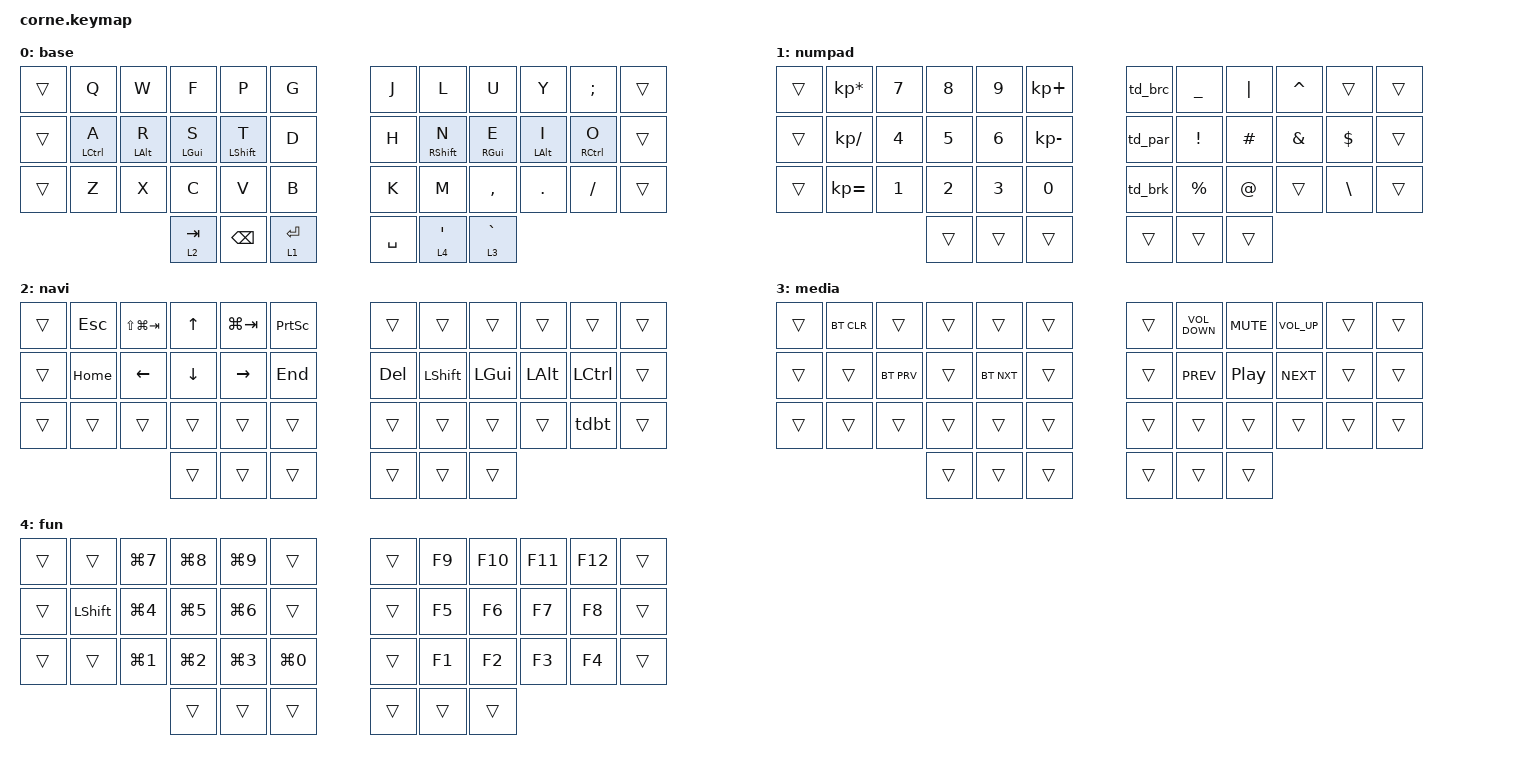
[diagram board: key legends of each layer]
/*
 * Copyright (c) 2020 The ZMK Contributors
 *
 * SPDX-License-Identifier: MIT
 */

#include <behaviors.dtsi>
#include <dt-bindings/zmk/bt.h>
#include <dt-bindings/zmk/keys.h>

/ {
    behaviors {
        hm_o: homerow_mod_outer {
            compatible = "zmk,behavior-hold-tap";
            #binding-cells = <2>;
            tapping-term-ms = <230>;
            quick-tap-ms = <0>;
            flavor = "tap-preferred";
            bindings = <&kp>, <&kp>;
        };

        hm_r: homerow_mod_ring {
            compatible = "zmk,behavior-hold-tap";
            #binding-cells = <2>;
            tapping-term-ms = <220>;
            quick-tap-ms = <0>;
            flavor = "tap-preferred";
            bindings = <&kp>, <&kp>;
        };

        hm_m: homerow_mod_middle {
            compatible = "zmk,behavior-hold-tap";
            #binding-cells = <2>;
            tapping-term-ms = <180>;
            quick-tap-ms = <0>;
            flavor = "tap-preferred";
            bindings = <&kp>, <&kp>;
        };

        hm_i: homerow_mod_index {
            compatible = "zmk,behavior-hold-tap";
            #binding-cells = <2>;
            tapping-term-ms = <170>;
            quick-tap-ms = <0>;
            flavor = "tap-preferred";
            bindings = <&kp>, <&kp>;
        };

        tdbt: tdbt {
            compatible = "zmk,behavior-tap-dance";
            label = "TDBT";
            #binding-cells = <0>;
            bindings = <&bt BT_SEL 0>, <&bt BT_SEL 1>, <&bt BT_CLR>;
        };

        td_par: tap_dance_paren {
            compatible = "zmk,behavior-tap-dance";
            label = "TD_PAREN";
            #binding-cells = <0>;
            bindings = <&kp LEFT_PARENTHESIS>, <&kp RIGHT_PARENTHESIS>;
        };

        td_brk: tap_dance_bracket {
            compatible = "zmk,behavior-tap-dance";
            label = "TD_BRACKET";
            #binding-cells = <0>;
            bindings = <&kp LEFT_BRACKET>, <&kp RIGHT_BRACKET>;
        };

        td_brc: tap_dance_brace {
            compatible = "zmk,behavior-tap-dance";
            label = "TD_BRACE";
            #binding-cells = <0>;
            bindings = <&kp LEFT_BRACE>, <&kp RIGHT_BRACE>;
        };
    };

    keymap {
        compatible = "zmk,keymap";

        BASE {
            label = "base";
            bindings = <
&trans  &kp Q          &kp W         &kp F          &kp P          &kp G          &kp J      &kp L          &kp U         &kp Y          &kp SEMICOLON  &trans
&trans  &hm_o LCTRL A  &hm_r LALT R  &hm_m LGUI S   &hm_i LSHFT T  &kp D          &kp H      &hm_i RSHFT N  &hm_m RGUI E  &hm_r LALT I   &hm_o RCTRL O  &trans
&trans  &kp Z          &kp X         &kp C          &kp V          &kp B          &kp K      &kp M          &kp COMMA     &kp DOT        &kp FSLH       &trans
                                     &lt 2 TAB      &kp BACKSPACE  &lt 1 ENTER    &kp SPACE  &lt 4 APOS     &lt 3 GRAVE
            >;
        };

        NUMPAD {
            label = "numpad";
            bindings = <
&trans  &kp KP_ASTERISK  &kp N7     &kp N8     &kp N9     &kp KP_PLUS     &td_brc  &kp UNDER        &kp PIPE  &kp CARET      &trans         &trans
&trans  &kp KP_SLASH     &kp N4     &kp N5     &kp N6     &kp KP_MINUS    &td_par  &kp EXCLAMATION  &kp HASH  &kp AMPERSAND  &kp DOLLAR     &trans
&trans  &kp KP_EQUAL     &kp N1     &kp N2     &kp N3     &kp N0          &td_brk  &kp PERCENT      &kp AT    &trans         &kp BACKSLASH  &trans
                                    &trans     &trans     &trans          &trans   &trans           &trans
            >;
        };

        NAVIGATION {
            label = "navi";
            bindings = <
&trans  &kp ESCAPE  &kp LS(LG(TAB))  &kp UP    &kp LG(TAB)  &kp PSCRN    &trans      &trans      &trans      &trans      &trans      &trans
&trans  &kp HOME    &kp LEFT          &kp DOWN  &kp RIGHT    &kp END      &kp DELETE  &kp LSHFT   &kp LGUI    &kp LALT    &kp LCTRL   &trans
&trans  &trans      &trans            &trans    &trans       &trans       &trans      &trans      &trans      &trans      &tdbt       &trans
                                      &trans    &trans       &trans       &trans      &trans      &trans
            >;
        };

        MEDIA {
            label = "media";
            bindings = <
&trans  &bt BT_CLR  &trans      &trans  &trans      &trans    &trans  &kp C_VOLUME_DOWN  &kp C_MUTE        &kp C_VOLUME_UP  &trans  &trans
&trans  &trans      &bt BT_PRV  &trans  &bt BT_NXT  &trans    &trans  &kp C_PREV         &kp C_PLAY_PAUSE  &kp C_NEXT       &trans  &trans
&trans  &trans      &trans      &trans  &trans      &trans    &trans  &trans             &trans            &trans           &trans  &trans
                                &trans  &trans      &trans    &trans  &trans             &trans
            >;
        };

        FUNCTION {
            label = "fun";
            bindings = <
&trans  &trans  &kp LG(N7)  &kp LG(N8)  &kp LG(N9)  &trans        &trans  &kp F9  &kp F10  &kp F11  &kp F12  &trans
&trans  &kp LSHFT  &kp LG(N4)  &kp LG(N5)  &kp LG(N6)  &trans     &trans  &kp F5  &kp F6   &kp F7   &kp F8   &trans
&trans  &trans  &kp LG(N1)  &kp LG(N2)  &kp LG(N3)  &kp LG(N0)    &trans  &kp F1  &kp F2   &kp F3   &kp F4   &trans
                        &trans  &trans  &trans    &trans  &trans  &trans
            >;
        };
    };
};
